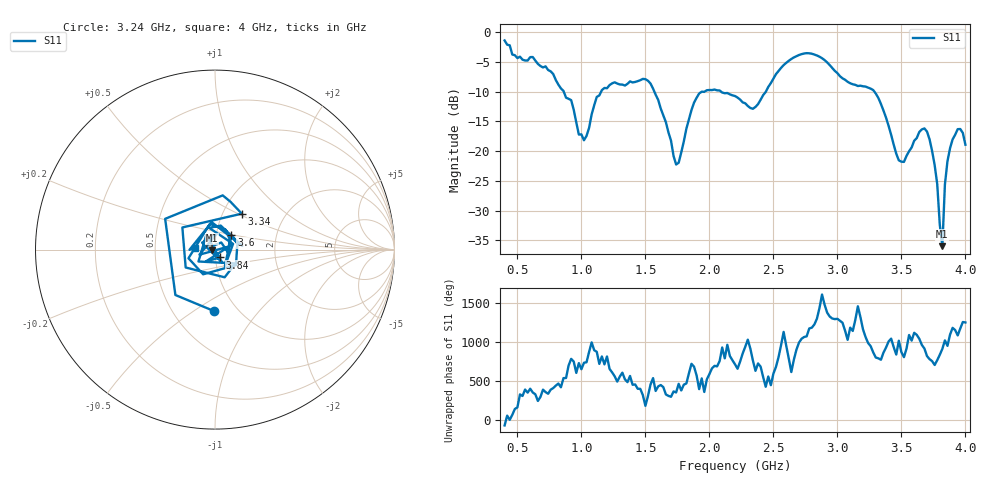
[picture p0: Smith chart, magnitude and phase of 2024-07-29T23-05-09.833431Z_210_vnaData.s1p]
!Created with skrf (http://scikit-rf.org).
# Hz S RI R 50.0
!freq ReS11 ImS11
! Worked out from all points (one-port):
!   181 points, 400 MHz to 4 GHz, reference 50 ohm
!   lowest |S11| = -36.0 dB at 3.82 GHz (marker M1), VSWR 1.03, Z = 48.5 - j0.378 ohm
!   |S11| at or under -10 dB: 1.57 GHz to 1.94 GHz (369.5 MHz wide, 21.1 % of centre); 2.092 GHz to 2.441 GHz (348.5 MHz wide, 15.4 % of centre); 3.289 GHz to end of sweep (the widest 3 of 5)
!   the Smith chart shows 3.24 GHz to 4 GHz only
!   S11 on the Smith chart (normalised r, x): 3.24 GHz: 0.78, -0.61; 3.34 GHz: 1.23, +0.52; 3.6 GHz: 1.18, +0.20; 3.84 GHz: 1.06, -0.09; 4 GHz: 0.80, +0.02
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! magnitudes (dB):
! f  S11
! 400 MHz  -1.4
! 860 MHz  -9.9
! 1.02 GHz  -18.2
! 1.12 GHz  -10.9
! 1.3 GHz  -8.8
! 1.54 GHz  -8.6
! 1.76 GHz  -21.9
! 1.86 GHz  -13.1
! 1.92 GHz  -10.3
! 2.2 GHz  -10.7
! 2.34 GHz  -12.9
! 2.66 GHz  -4.2
! 2.86 GHz  -4.1
! 3.1 GHz  -8.6
! 3.24 GHz  -9.3
! 3.34 GHz  -12.0
! 3.48 GHz  -21.5
! 3.56 GHz  -20.0
! 3.6 GHz  -18.2
! 3.68 GHz  -16.2
! 3.72 GHz  -18.0
! 3.78 GHz  -25.5
! 3.8 GHz  -32.4
! 3.82 GHz  -36.0
! 3.84 GHz  -25.6
! 3.88 GHz  -19.5
! 3.94 GHz  -16.3
! 4 GHz  -18.9
